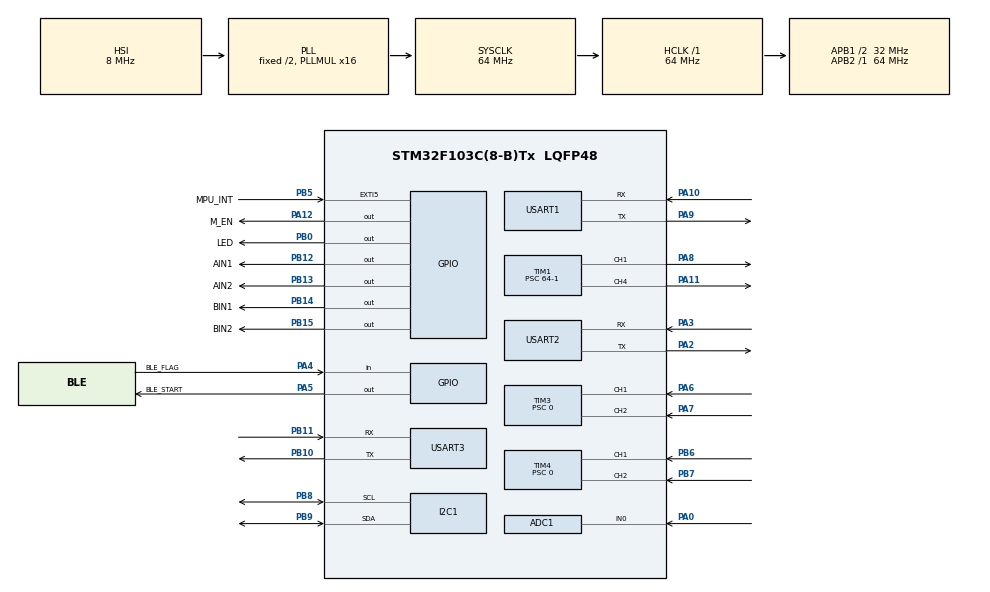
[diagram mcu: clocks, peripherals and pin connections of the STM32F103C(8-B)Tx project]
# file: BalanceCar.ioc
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ADC1.Channel-0\#ChannelRegularConversion=ADC_CHANNEL_0
ADC1.NbrOfConversionFlag=1
ADC1.Rank-0\#ChannelRegularConversion=1
ADC1.SamplingTime-0\#ChannelRegularConversion=ADC_SAMPLETIME_1CYCLE_5
ADC1.master=1
Dma.Request0=USART2_RX
Dma.Request1=USART3_TX
Dma.Request2=USART3_RX
Dma.USART2_RX.0.Direction=DMA_PERIPH_TO_MEMORY
Dma.USART2_RX.0.Instance=DMA1_Channel6
Dma.USART2_RX.0.MemDataAlignment=DMA_MDATAALIGN_BYTE
Dma.USART2_RX.0.MemInc=DMA_MINC_ENABLE
Dma.USART2_RX.0.Mode=DMA_NORMAL
Dma.USART2_RX.0.PeriphDataAlignment=DMA_PDATAALIGN_BYTE
Dma.USART2_RX.0.PeriphInc=DMA_PINC_DISABLE
Dma.USART2_RX.0.Priority=DMA_PRIORITY_LOW
Dma.USART3_RX.2.Direction=DMA_PERIPH_TO_MEMORY
Dma.USART3_RX.2.Instance=DMA1_Channel3
Dma.USART3_RX.2.MemDataAlignment=DMA_MDATAALIGN_BYTE
Dma.USART3_RX.2.MemInc=DMA_MINC_ENABLE
Dma.USART3_RX.2.Mode=DMA_NORMAL
Dma.USART3_RX.2.PeriphDataAlignment=DMA_PDATAALIGN_BYTE
Dma.USART3_RX.2.PeriphInc=DMA_PINC_DISABLE
Dma.USART3_RX.2.Priority=DMA_PRIORITY_LOW
Dma.USART3_TX.1.Direction=DMA_MEMORY_TO_PERIPH
Dma.USART3_TX.1.Instance=DMA1_Channel2
Dma.USART3_TX.1.MemDataAlignment=DMA_MDATAALIGN_BYTE
Dma.USART3_TX.1.MemInc=DMA_MINC_ENABLE
Dma.USART3_TX.1.Mode=DMA_NORMAL
Dma.USART3_TX.1.PeriphDataAlignment=DMA_PDATAALIGN_BYTE
Dma.USART3_TX.1.PeriphInc=DMA_PINC_DISABLE
Dma.USART3_TX.1.Priority=DMA_PRIORITY_LOW
Mcu.Family=STM32F1
Mcu.Name=STM32F103C(8-B)Tx
Mcu.Package=LQFP48
NVIC.DMA1_Channel2_IRQn=true\:0\:0\:false\:false\:true\:false\:true\:true
NVIC.DMA1_Channel3_IRQn=true\:0\:0\:false\:false\:true\:false\:true\:true
NVIC.DMA1_Channel6_IRQn=true\:0\:0\:false\:false\:true\:false\:true\:true
NVIC.EXTI9_5_IRQn=true\:0\:0\:true\:false\:true\:true\:true\:true
NVIC.I2C1_ER_IRQn=true\:0\:0\:false\:false\:true\:true\:true\:true
NVIC.I2C1_EV_IRQn=true\:0\:0\:false\:false\:true\:true\:true\:true
NVIC.PriorityGroup=NVIC_PRIORITYGROUP_4
NVIC.TIM1_BRK_IRQn=true\:0\:0\:false\:false\:true\:true\:true\:true
NVIC.TIM1_CC_IRQn=true\:0\:0\:false\:false\:true\:true\:true\:true
NVIC.TIM1_TRG_COM_IRQn=true\:0\:0\:false\:false\:true\:true\:true\:true
NVIC.TIM1_UP_IRQn=true\:0\:0\:false\:false\:true\:true\:true\:true
NVIC.TIM2_IRQn=true\:0\:0\:false\:false\:true\:true\:true\:true
NVIC.TIM4_IRQn=true\:0\:0\:false\:false\:true\:true\:true\:true
NVIC.USART1_IRQn=true\:0\:0\:false\:false\:true\:true\:true\:true
NVIC.USART2_IRQn=true\:0\:0\:false\:false\:true\:true\:true\:true
NVIC.USART3_IRQn=true\:0\:0\:false\:false\:true\:true\:true\:true
PA0-WKUP.Signal=ADCx_IN0
PA10.Mode=Asynchronous
PA10.Signal=USART1_RX
PA11.Signal=S_TIM1_CH4
PA12.GPIO_Label=M_EN
PA12.Signal=GPIO_Output
PA13.Mode=Serial_Wire
PA13.Signal=SYS_JTMS-SWDIO
PA14.Mode=Serial_Wire
PA14.Signal=SYS_JTCK-SWCLK
PA2.Mode=Asynchronous
PA2.Signal=USART2_TX
PA3.Mode=Asynchronous
PA3.Signal=USART2_RX
PA4.GPIO_Label=BLE_FLAG
PA4.Signal=GPIO_Input
PA5.GPIO_Label=BLE_START
PA5.Signal=GPIO_Output
PA6.GPIO_PuPd=GPIO_PULLUP
PA6.Signal=S_TIM3_CH1
PA7.GPIO_PuPd=GPIO_PULLUP
PA7.Signal=S_TIM3_CH2
PA8.Signal=S_TIM1_CH1
PA9.Mode=Asynchronous
PA9.Signal=USART1_TX
PB0.GPIO_Label=LED
PB0.Signal=GPIO_Output
PB10.Mode=Asynchronous
PB10.Signal=USART3_TX
PB11.Mode=Asynchronous
PB11.Signal=USART3_RX
PB12.GPIO_Label=AIN1
PB12.Signal=GPIO_Output
PB13.GPIO_Label=AIN2
PB13.Signal=GPIO_Output
PB14.GPIO_Label=BIN1
PB14.Signal=GPIO_Output
PB15.GPIO_Label=BIN2
PB15.Signal=GPIO_Output
PB5.GPIO_Label=MPU_INT
PB5.Signal=GPXTI5
PB6.GPIO_PuPd=GPIO_PULLUP
PB6.Signal=S_TIM4_CH1
PB7.GPIO_PuPd=GPIO_PULLUP
PB7.Signal=S_TIM4_CH2
PB8.Mode=I2C
PB8.Signal=I2C1_SCL
PB9.Mode=I2C
PB9.Signal=I2C1_SDA
ProjectManager.HeapSize=0x200
ProjectManager.StackSize=0x400
ProjectManager.TargetToolchain=MDK-ARM V5.32
RCC.ADCPresc=RCC_ADCPCLK2_DIV6
RCC.AHBFreq_Value=64000000
RCC.APB1CLKDivider=RCC_HCLK_DIV2
RCC.APB1Freq_Value=32000000
RCC.APB1TimFreq_Value=64000000
RCC.APB2Freq_Value=64000000
RCC.APB2TimFreq_Value=64000000
RCC.HCLKFreq_Value=64000000
RCC.PLLMUL=RCC_PLL_MUL16
RCC.SYSCLKFreq_VALUE=64000000
RCC.SYSCLKSource=RCC_SYSCLKSOURCE_PLLCLK
RCC.USBFreq_Value=64000000
SH.ADCx_IN0.0=ADC1_IN0,IN0
SH.S_TIM1_CH1.0=TIM1_CH1,PWM Generation1 CH1
SH.S_TIM1_CH4.0=TIM1_CH4,PWM Generation4 CH4
SH.S_TIM3_CH1.0=TIM3_CH1,Encoder_Interface
SH.S_TIM3_CH2.0=TIM3_CH2,Encoder_Interface
SH.S_TIM4_CH1.0=TIM4_CH1,Encoder_Interface
SH.S_TIM4_CH2.0=TIM4_CH2,Encoder_Interface
TIM1.AutoReloadPreload=TIM_AUTORELOAD_PRELOAD_ENABLE
TIM1.Channel-PWM\ Generation1\ CH1=TIM_CHANNEL_1
TIM1.Channel-PWM\ Generation4\ CH4=TIM_CHANNEL_4
TIM1.OC1Preload_PWM=ENABLE
TIM1.OC4Preload_PWM=ENABLE
TIM1.OCPolarity_1=TIM_OCPOLARITY_HIGH
TIM1.OCPolarity_4=TIM_OCPOLARITY_HIGH
TIM1.Period=500-1
TIM1.Prescaler=64-1
TIM2.Period=1000
TIM2.Prescaler=64-1
TIM3.AutoReloadPreload=TIM_AUTORELOAD_PRELOAD_ENABLE
TIM3.EncoderMode=TIM_ENCODERMODE_TI1
TIM3.Period=65535
TIM3.Prescaler=0
TIM4.AutoReloadPreload=TIM_AUTORELOAD_PRELOAD_ENABLE
TIM4.EncoderMode=TIM_ENCODERMODE_TI1
TIM4.Period=65535
TIM4.Prescaler=0
USART1.VirtualMode=VM_ASYNC
USART2.VirtualMode=VM_ASYNC
USART3.VirtualMode=VM_ASYNC
VP_TIM1_VS_ClockSourceINT.Mode=Internal
VP_TIM2_VS_ClockSourceINT.Mode=Internal
board=custom

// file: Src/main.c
/* USER CODE BEGIN Header */
/**
  ******************************************************************************
  * @file           : main.c
  * @brief          : Main program body
  ******************************************************************************
  * @attention
  *
  * Copyright (c) 2025 STMicroelectronics.
  * All rights reserved.
  *
  * This software is licensed under terms that can be found in the LICENSE file
  * in the root directory of this software component.
  * If no LICENSE file comes with this software, it is provided AS-IS.
  *
  ******************************************************************************
  */
/* USER CODE END Header */
#include "main.h"
#include "adc.h"
#include "dma.h"
#include "i2c.h"
#include "tim.h"
#include "usart.h"
#include "gpio.h"

/* USER CODE BEGIN Includes */
#include <stdio.h>
#include <math.h>
#include <stdlib.h>
#include "IIC.h"
#include "mpu6050.h"
#include "inv_mpu.h"
#include "inv_mpu_dmp_motion_driver.h"
#include "MOTOR.h"
/* USER CODE END Includes */

void SystemClock_Config(void);

/* USER CODE BEGIN 0 */

float pitch,roll,yaw;
short aacx,aacy,aacz;
short gyrox,gyroy,gyroz;
float temp;//温度
int16_t Count1=0,Count2=0,Diretion1=0,Diretion2=0;

float error0=0,error1=0,error2=0;//本次误差 上次误差 上上次误差
float Integral_error = 0.0;//误差积分

float Differential_error=0.0;//误差微分
float Differential_error1=0.0;//上一次误差微分
float Diff_velocity=0.2;//微分滤波强度

float kp=15.9,ki=0.6,kd=18.6;//pid控制项
float current_value1=0;//上一次实际值
float pwm_max = 450.0,pwm_min=10.0;//PWM限幅
float pwm=0;//输出pwm
uint8_t direction=0;//旋转方向
float target = 0.0;//目标值

void Balance_control(float current_value,float set_value)
{
	//如果获取数据出错继续返回上一次pwm值
	if(current_value>360.0 | current_value<360.0)
	{
			MOTOR_TURN(1,direction,fabs(pwm));
			MOTOR_TURN(2,direction,fabs(pwm));
	}

	//	error2 = error1;//上上次误差
	error1 = error0;//上次误差
	error0 = set_value - current_value;//当前误差
	//积分分离
	if(fabs(error0) < 10)	{
		Integral_error+=error0;//积分误差
	}
	else{
		Integral_error=0;
	}
	//积分限幅防止积分深度饱和提升系统响应
	if(fabs(Integral_error)>pwm_max)
	{
		if(Integral_error>0)	Integral_error = pwm_max;
		if(Integral_error<0)	Integral_error = -1*pwm_max;
	}
	Differential_error=(error0-error1);//误差微分
	pwm = kp*(error0)+ki*(Integral_error)+kd*Differential_error;//位置式pwm输出计算
	if(pwm < 0)		direction = 0;//正传
	if(pwm > 0)		direction = 1;//反转

	if(fabs(pwm) > pwm_max)//输出限幅
	{
		if (pwm < 0) 	pwm = -pwm_max;
		if (pwm > 0)	pwm = pwm_max;
	}
	if(fabs(pwm) < pwm_min)//输出限幅
	{
		if (pwm < 0) 	pwm = -pwm_min;
		if (pwm > 0)	pwm = pwm_min;
	}
	MOTOR_TURN(1,direction,fabs(pwm));
	MOTOR_TURN(2,direction,fabs(pwm));
//	printf("%.2f %.2f %.2f\r\n",error_value,error_accumulation,last_error_value);
	printf("%.2f,%.2f,%.2f,%.2f,%.2f,%.2f\r\n",current_value,set_value,pwm,error0,Integral_error,kd*Differential_error);
	current_value1=current_value;
}

/* USER CODE END 0 */

int main(void)
{

  /* MCU Configuration--------------------------------------------------------*/

  /* Reset of all peripherals, Initializes the Flash interface and the Systick. */
  HAL_Init();

  /* Configure the system clock */
  SystemClock_Config();

  /* Initialize all configured peripherals */
  MX_GPIO_Init();
  MX_DMA_Init();
  MX_ADC1_Init();
  MX_I2C1_Init();
  MX_TIM1_Init();
  MX_TIM3_Init();
  MX_TIM4_Init();
  MX_USART1_UART_Init();
  MX_USART2_UART_Init();
  MX_USART3_UART_Init();
  MX_TIM2_Init();
  /* USER CODE BEGIN 2 */
	 if(MPU_Init() != 0){
		printf("\r\nMPU_Init error!!!\r\n");
		return 0;
	 }
	 else{
		printf("\r\nMPU_Init ok!!!\r\n");
	 }
	 if(mpu_dmp_init() != 0){
			printf("\r\nmpu_dmp_init error!!!\r\n");
			return 0;
	 }
	 else{
		printf("\r\nmpu_dmp_init ok!!!\r\n");
	 }
		MOTOR_INIT();
		HAL_TIM_Encoder_Start(&htim3, TIM_CHANNEL_ALL); //开启编码器模式
		HAL_TIM_Encoder_Start(&htim4, TIM_CHANNEL_ALL); //开启编码器模式
	 	HAL_TIM_Base_Start_IT(&htim2);                  //开启定时器的中断
  /* USER CODE END 2 */

  /* Infinite loop */
  /* USER CODE BEGIN WHILE */
  while (1)
  {
			while(mpu_dmp_get_data(&pitch, &roll, &yaw));
//			MOTOR_TURN(1,direction,40);
//			MOTOR_TURN(2,direction,40);
//		MPU_Get_Accelerometer(&aacx,&aacy, &aacz);
//		MPU_Get_Gyroscope(&gyrox, &gyroy, &gyroz);
//		temp=MPU_Get_Temperature();

    /* USER CODE END WHILE */

  }
}

void SystemClock_Config(void)
{
  RCC_OscInitTypeDef RCC_OscInitStruct = {0};
  RCC_ClkInitTypeDef RCC_ClkInitStruct = {0};
  RCC_PeriphCLKInitTypeDef PeriphClkInit = {0};

  /** Initializes the RCC Oscillators according to the specified parameters
  * in the RCC_OscInitTypeDef structure.
  */
  RCC_OscInitStruct.OscillatorType = RCC_OSCILLATORTYPE_HSI;
  RCC_OscInitStruct.HSIState = RCC_HSI_ON;
  RCC_OscInitStruct.HSICalibrationValue = RCC_HSICALIBRATION_DEFAULT;
  RCC_OscInitStruct.PLL.PLLState = RCC_PLL_ON;
  RCC_OscInitStruct.PLL.PLLSource = RCC_PLLSOURCE_HSI_DIV2;
  RCC_OscInitStruct.PLL.PLLMUL = RCC_PLL_MUL16;
  if (HAL_RCC_OscConfig(&RCC_OscInitStruct) != HAL_OK)
  {
    Error_Handler();
  }

  /** Initializes the CPU, AHB and APB buses clocks
  */
  RCC_ClkInitStruct.ClockType = RCC_CLOCKTYPE_HCLK|RCC_CLOCKTYPE_SYSCLK
                              |RCC_CLOCKTYPE_PCLK1|RCC_CLOCKTYPE_PCLK2;
  RCC_ClkInitStruct.SYSCLKSource = RCC_SYSCLKSOURCE_PLLCLK;
  RCC_ClkInitStruct.AHBCLKDivider = RCC_SYSCLK_DIV1;
  RCC_ClkInitStruct.APB1CLKDivider = RCC_HCLK_DIV2;
  RCC_ClkInitStruct.APB2CLKDivider = RCC_HCLK_DIV1;

  if (HAL_RCC_ClockConfig(&RCC_ClkInitStruct, FLASH_LATENCY_2) != HAL_OK)
  {
    Error_Handler();
  }
  PeriphClkInit.PeriphClockSelection = RCC_PERIPHCLK_ADC;
  PeriphClkInit.AdcClockSelection = RCC_ADCPCLK2_DIV6;
  if (HAL_RCCEx_PeriphCLKConfig(&PeriphClkInit) != HAL_OK)
  {
    Error_Handler();
  }
}

/* USER CODE BEGIN 4 */
uint16_t tim2_count=0;
void HAL_TIM_PeriodElapsedCallback(TIM_HandleTypeDef *htim)
{
	if (htim == &htim2)
	{
		tim2_count++;
		if(tim2_count>=5)//5ms进一次
		{
			tim2_count = 0;
			Balance_control(pitch,target);
		}
	}
}

/* USER CODE END 4 */

void Error_Handler(void)
{
  __disable_irq();
  while (1)
  {
  }
}

#ifdef  USE_FULL_ASSERT
/**
  * @brief  Reports the name of the source file and the source line number
  *         where the assert_param error has occurred.
  * @param  file: pointer to the source file name
  * @param  line: assert_param error line source number
  * @retval None
  */
void assert_failed(uint8_t *file, uint32_t line)
{
  /* USER CODE BEGIN 6 */
  /* User can add his own implementation to report the file name and line number,
     ex: printf("Wrong parameters value: file %s on line %d\r\n", file, line) */
	printf("Wrong parameters value: file %s on line %d\r\n", file, line);
  /* USER CODE END 6 */
}
#endif /* USE_FULL_ASSERT */
